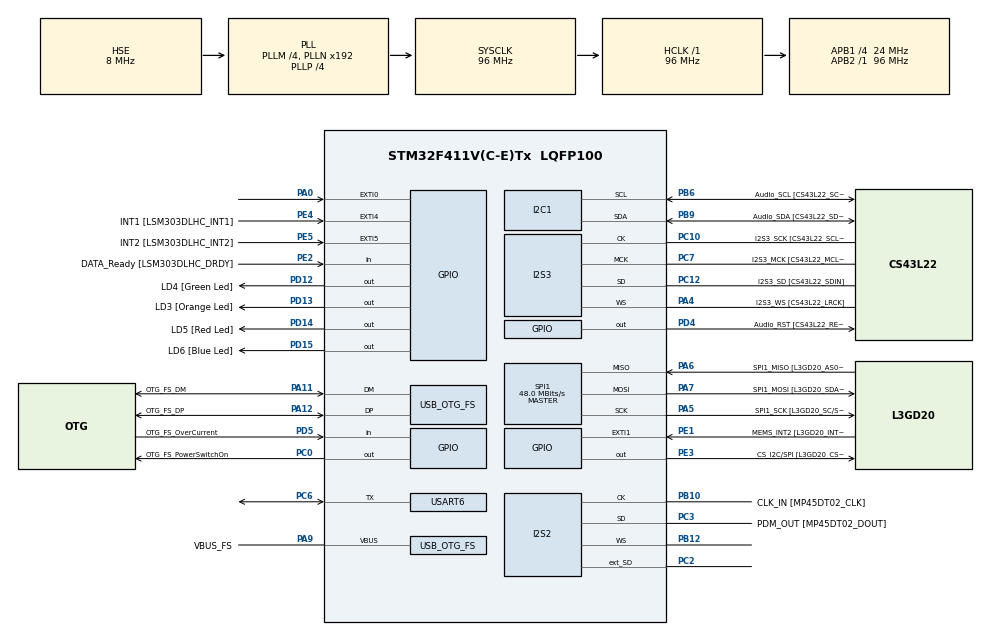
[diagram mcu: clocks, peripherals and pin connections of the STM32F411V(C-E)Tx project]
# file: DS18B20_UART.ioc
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Dma.Request0=USART6_TX
Dma.Request1=USART6_RX
Dma.USART6_RX.1.Direction=DMA_PERIPH_TO_MEMORY
Dma.USART6_RX.1.FIFOMode=DMA_FIFOMODE_DISABLE
Dma.USART6_RX.1.Instance=DMA2_Stream1
Dma.USART6_RX.1.MemDataAlignment=DMA_MDATAALIGN_BYTE
Dma.USART6_RX.1.MemInc=DMA_MINC_ENABLE
Dma.USART6_RX.1.Mode=DMA_NORMAL
Dma.USART6_RX.1.PeriphDataAlignment=DMA_PDATAALIGN_BYTE
Dma.USART6_RX.1.PeriphInc=DMA_PINC_DISABLE
Dma.USART6_RX.1.Priority=DMA_PRIORITY_LOW
Dma.USART6_TX.0.Direction=DMA_MEMORY_TO_PERIPH
Dma.USART6_TX.0.FIFOMode=DMA_FIFOMODE_DISABLE
Dma.USART6_TX.0.Instance=DMA2_Stream6
Dma.USART6_TX.0.MemDataAlignment=DMA_MDATAALIGN_BYTE
Dma.USART6_TX.0.MemInc=DMA_MINC_ENABLE
Dma.USART6_TX.0.Mode=DMA_NORMAL
Dma.USART6_TX.0.PeriphDataAlignment=DMA_PDATAALIGN_BYTE
Dma.USART6_TX.0.PeriphInc=DMA_PINC_DISABLE
Dma.USART6_TX.0.Priority=DMA_PRIORITY_LOW
I2S2.AudioFreq=I2S_AUDIOFREQ_96K
I2S2.ErrorAudioFreq=0.15 %
I2S2.FullDuplexMode=I2S_FULLDUPLEXMODE_ENABLE
I2S2.Instance=SPI$Index
I2S2.RealAudioFreq=96.153 KHz
I2S2.VirtualMode=I2S_MODE_MASTER
I2S3.AudioFreq=I2S_AUDIOFREQ_96K
I2S3.ErrorAudioFreq=-6.99 %
I2S3.FullDuplexMode=I2S_FULLDUPLEXMODE_DISABLE
I2S3.Instance=SPI$Index
I2S3.RealAudioFreq=89.285 KHz
I2S3.VirtualMode=I2S_MODE_MASTER
Mcu.Family=STM32F4
Mcu.Name=STM32F411V(C-E)Tx
Mcu.Package=LQFP100
NVIC.DMA2_Stream1_IRQn=true\:0\:0\:false\:false\:true\:false\:true\:true
NVIC.DMA2_Stream6_IRQn=true\:0\:0\:false\:false\:true\:false\:true\:true
NVIC.OTG_FS_IRQn=true\:0\:0\:false\:false\:true\:true\:true\:true
NVIC.PriorityGroup=NVIC_PRIORITYGROUP_0
NVIC.TIM4_IRQn=true\:0\:0\:false\:false\:true\:true\:true\:true
NVIC.USART6_IRQn=true\:0\:0\:false\:false\:true\:true\:true\:true
PA0-WKUP.GPIO_ModeDefaultEXTI=GPIO_MODE_EVT_RISING
PA0-WKUP.Signal=GPXTI0
PA10.GPIO_Label=OTG_FS_ID
PA10.Signal=USB_OTG_FS_ID
PA11.GPIO_Label=OTG_FS_DM
PA11.Mode=Host_Only
PA11.Signal=USB_OTG_FS_DM
PA12.GPIO_Label=OTG_FS_DP
PA12.Mode=Host_Only
PA12.Signal=USB_OTG_FS_DP
PA13.GPIO_Label=SWDIO
PA13.Mode=Serial_Wire
PA13.Signal=SYS_JTMS-SWDIO
PA14.GPIO_Label=SWCLK
PA14.Mode=Serial_Wire
PA14.Signal=SYS_JTCK-SWCLK
PA4.GPIO_Label=I2S3_WS [CS43L22_LRCK]
PA4.GPIO_Mode=GPIO_MODE_AF_PP
PA4.GPIO_PuPd=GPIO_NOPULL
PA4.GPIO_Speed=GPIO_SPEED_FREQ_LOW
PA4.Mode=Half_Duplex_Master
PA4.Signal=I2S3_WS
PA5.GPIO_Label=SPI1_SCK [L3GD20_SC/SPC]
PA5.Mode=Full_Duplex_Master
PA5.Signal=SPI1_SCK
PA6.GPIO_Label=SPI1_MISO [L3GD20_AS0/SDO]
PA6.Mode=Full_Duplex_Master
PA6.Signal=SPI1_MISO
PA7.GPIO_Label=SPI1_MOSI [L3GD20_SDA/SDI/SDO]
PA7.Mode=Full_Duplex_Master
PA7.Signal=SPI1_MOSI
PA9.GPIO_Label=VBUS_FS
PA9.Mode=Activate_VBUS
PA9.Signal=USB_OTG_FS_VBUS
PB10.GPIO_Label=CLK_IN [MP45DT02_CLK]
PB10.Mode=Full_Duplex_Master
PB10.Signal=I2S2_CK
PB12.Mode=Full_Duplex_Master
PB12.Signal=I2S2_WS
PB3.GPIO_Label=SWO
PB3.Signal=SYS_JTDO-SWO
PB6.GPIO_Label=Audio_SCL [CS43L22_SCL]
PB6.GPIO_Mode=GPIO_MODE_AF_OD
PB6.GPIO_Pu=GPIO_PULLUP
PB6.GPIO_PuPd=GPIO_NOPULL
PB6.GPIO_Speed=GPIO_SPEED_FREQ_LOW
PB6.Mode=I2C
PB6.Signal=I2C1_SCL
PB9.GPIO_Label=Audio_SDA [CS43L22_SDA]
PB9.GPIO_Mode=GPIO_MODE_AF_OD
PB9.GPIO_Pu=GPIO_PULLUP
PB9.GPIO_PuPd=GPIO_NOPULL
PB9.GPIO_Speed=GPIO_SPEED_FREQ_LOW
PB9.Mode=I2C
PB9.Signal=I2C1_SDA
PC0.GPIO_Label=OTG_FS_PowerSwitchOn
PC0.PinState=GPIO_PIN_SET
PC0.Signal=GPIO_Output
PC10.GPIO_Label=I2S3_SCK [CS43L22_SCLK]
PC10.GPIO_Mode=GPIO_MODE_AF_PP
PC10.GPIO_PuPd=GPIO_NOPULL
PC10.GPIO_Speed=GPIO_SPEED_FREQ_LOW
PC10.Mode=Half_Duplex_Master
PC10.Signal=I2S3_CK
PC12.GPIO_Label=I2S3_SD [CS43L22_SDIN]
PC12.GPIO_Mode=GPIO_MODE_AF_PP
PC12.GPIO_PuPd=GPIO_NOPULL
PC12.GPIO_Speed=GPIO_SPEED_FREQ_LOW
PC12.Mode=Half_Duplex_Master
PC12.Signal=I2S3_SD
PC14-OSC32_IN.GPIO_Label=PC14-OSC32_IN
PC14-OSC32_IN.Mode=LSE-External-Oscillator
PC14-OSC32_IN.Signal=RCC_OSC32_IN
PC15-OSC32_OUT.GPIO_Label=PC15-OSC32_OUT
PC15-OSC32_OUT.Mode=LSE-External-Oscillator
PC15-OSC32_OUT.Signal=RCC_OSC32_OUT
PC2.Mode=Full_Duplex_Master
PC2.Signal=I2S2_ext_SD
PC3.GPIO_Label=PDM_OUT [MP45DT02_DOUT]
PC3.Mode=Full_Duplex_Master
PC3.Signal=I2S2_SD
PC6.GPIO_PuPd=GPIO_NOPULL
PC6.GPIO_Speed=GPIO_SPEED_FREQ_VERY_HIGH
PC6.Mode=Half_duplex(single_wire_mode)
PC6.Signal=USART6_TX
PC7.GPIO_Label=I2S3_MCK [CS43L22_MCLK]
PC7.GPIO_Mode=GPIO_MODE_AF_PP
PC7.GPIO_PuPd=GPIO_NOPULL
PC7.GPIO_Speed=GPIO_SPEED_FREQ_LOW
PC7.Mode=Master_Clock_Activated
PC7.Signal=I2S3_MCK
PD12.GPIO_Label=LD4 [Green Led]
PD12.GPIO_PuPd=GPIO_NOPULL
PD12.GPIO_Speed=GPIO_SPEED_FREQ_LOW
PD12.Signal=GPIO_Output
PD13.GPIO_Label=LD3 [Orange Led]
PD13.GPIO_PuPd=GPIO_NOPULL
PD13.GPIO_Speed=GPIO_SPEED_FREQ_LOW
PD13.Signal=GPIO_Output
PD14.GPIO_Label=LD5 [Red Led]
PD14.GPIO_PuPd=GPIO_NOPULL
PD14.GPIO_Speed=GPIO_SPEED_FREQ_LOW
PD14.Signal=GPIO_Output
PD15.GPIO_Label=LD6 [Blue Led]
PD15.GPIO_PuPd=GPIO_NOPULL
PD15.GPIO_Speed=GPIO_SPEED_FREQ_LOW
PD15.Signal=GPIO_Output
PD4.GPIO_Label=Audio_RST [CS43L22_RESET]
PD4.Signal=GPIO_Output
PD5.GPIO_Label=OTG_FS_OverCurrent
PD5.Signal=GPIO_Input
PE1.GPIO_Label=MEMS_INT2 [L3GD20_INT2]
PE1.GPIO_ModeDefaultEXTI=GPIO_MODE_EVT_RISING
PE1.Signal=GPXTI1
PE2.GPIO_Label=DATA_Ready [LSM303DLHC_DRDY]
PE2.Signal=GPIO_Input
PE3.GPIO_Label=CS_I2C/SPI [L3GD20_CS_I2C/SPI]
PE3.Signal=GPIO_Output
PE4.GPIO_Label=INT1 [LSM303DLHC_INT1]
PE4.GPIO_ModeDefaultEXTI=GPIO_MODE_EVT_RISING
PE4.Signal=GPXTI4
PE5.GPIO_Label=INT2 [LSM303DLHC_INT2]
PE5.GPIO_ModeDefaultEXTI=GPIO_MODE_EVT_RISING
PE5.Signal=GPXTI5
PH0\ -\ OSC_IN.GPIO_Label=PH0-OSC_IN
PH0\ -\ OSC_IN.Mode=HSE-External-Oscillator
PH0\ -\ OSC_IN.Signal=RCC_OSC_IN
PH1\ -\ OSC_OUT.GPIO_Label=PH1-OSC_OUT
PH1\ -\ OSC_OUT.Mode=HSE-External-Oscillator
PH1\ -\ OSC_OUT.Signal=RCC_OSC_OUT
ProjectManager.HeapSize=0x200
ProjectManager.StackSize=0x400
ProjectManager.TargetToolchain=STM32CubeIDE
RCC.48MHZClocksFreq_Value=48000000
RCC.AHBFreq_Value=96000000
RCC.APB1CLKDivider=RCC_HCLK_DIV4
RCC.APB1Freq_Value=24000000
RCC.APB1TimFreq_Value=48000000
RCC.APB2Freq_Value=96000000
RCC.APB2TimFreq_Value=96000000
RCC.CortexFreq_Value=96000000
RCC.HCLKFreq_Value=96000000
RCC.HSE_VALUE=8000000
RCC.HSI_VALUE=16000000
RCC.PLLI2SM=5
RCC.PLLI2SN=200
RCC.PLLM=4
RCC.PLLP=RCC_PLLP_DIV4
RCC.PLLQ=8
RCC.SYSCLKFreq_VALUE=96000000
RCC.SYSCLKSource=RCC_SYSCLKSOURCE_PLLCLK
RCC.VCOOutputFreq_Value=384000000
SPI1.BaudRatePrescaler=SPI_BAUDRATEPRESCALER_2
SPI1.CalculateBaudRate=48.0 MBits/s
SPI1.Direction=SPI_DIRECTION_2LINES
SPI1.Mode=SPI_MODE_MASTER
SPI1.VirtualType=VM_MASTER
TIM4.Prescaler=96
USART6.BaudRate=115200
USART6.VirtualMode=VM_ASYNC
USB_HOST.BSP.number=1
USB_HOST.USBH_HandleTypeDef=hUsbHostFS
USB_HOST.VirtualModeFS=Cdc
USB_HOST0.BSP.STBoard=false
USB_HOST0.BSP.api=Unknown
USB_HOST0.BSP.instance=PC0
USB_HOST0.BSP.ip=GPIO
USB_HOST0.BSP.mode=Output
USB_HOST0.BSP.name=Drive_VBUS_FS
USB_HOST0.BSP.solution=PC0
USB_OTG_FS.VirtualMode=Host_Only
USB_OTG_FS.phy_itface=HCD_PHY_EMBEDDED
VP_TIM4_VS_ClockSourceINT.Mode=Internal
VP_USB_HOST_VS_USB_HOST_CDC_FS.Mode=CDC_FS
board=STM32F411E-DISCO

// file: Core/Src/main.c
/* USER CODE BEGIN Header */
/**
  ******************************************************************************
  * @file           : main.c
  * @brief          : Main program body
  ******************************************************************************
  * @attention
  *
  * Copyright (c) 2025 STMicroelectronics.
  * All rights reserved.
  *
  * This software is licensed under terms that can be found in the LICENSE file
  * in the root directory of this software component.
  * If no LICENSE file comes with this software, it is provided AS-IS.
  *
  ******************************************************************************
  */
/* USER CODE END Header */
#include "main.h"
#include "usb_host.h"

/* USER CODE BEGIN Includes */
#include "stdbool.h"
#include "stdio.h"
#include "stm32f4xx_ll_usart.h"
/* USER CODE END Includes */

/* USER CODE BEGIN PM */
int __io_putchar(int ch)
{
 // Write character to ITM ch.0
 ITM_SendChar(ch);
 return(ch);
}
/* USER CODE END PM */

I2C_HandleTypeDef hi2c1;

I2S_HandleTypeDef hi2s2;
I2S_HandleTypeDef hi2s3;

SPI_HandleTypeDef hspi1;

TIM_HandleTypeDef htim4;

UART_HandleTypeDef huart6;
DMA_HandleTypeDef hdma_usart6_tx;
DMA_HandleTypeDef hdma_usart6_rx;

void SystemClock_Config(void);
void PeriphCommonClock_Config(void);
static void MX_GPIO_Init(void);
static void MX_DMA_Init(void);
static void MX_I2C1_Init(void);
static void MX_I2S2_Init(void);
static void MX_I2S3_Init(void);
static void MX_SPI1_Init(void);
static void MX_USART6_UART_Init(void);
static void MX_TIM4_Init(void);
void MX_USB_HOST_Process(void);

/* USER CODE BEGIN PFP */
typedef enum {START_MEASURE, PRESENCE_PULSE_1, SKIPPING_ROM1, REQUESTING_CONVERSION, PRESENCE_PULSE_2, SKIPPING_ROM2, REQUEST_TEMP, RECEIVING_BYTE_LSB,  RECEIVING_BYTE_MSB, FINISHED}DS18B20_state_t;

volatile bool flag_uart6_sent = 0;
volatile bool flag_timer = 0;

volatile int presence = 0;
uint8_t RxData[8], RxData_LSB[8], RxData_MSB[8], Temp_LSB = 0, Temp_MSB = 0;
int16_t Temp = 0;
float Temperature_DS18B20 = 0;
uint8_t Tx_PRESENCE_PULSE[] = {0xF0}, Rx_PRESENCE_PULSE[] = {0x00};
uint8_t data_global = 0xF0;

uint8_t FF_byte[] = {0xFF};
uint8_t C0_byte[] = {0xC0};

uint32_t delay = 0, conversion_delay = 0;
DS18B20_state_t DS18B20_state = START_MEASURE, *DS18B20_state_ptr = &DS18B20_state;

void HAL_UART_TxCpltCallback(UART_HandleTypeDef *huart){
	if(huart->Instance == USART6){
		flag_uart6_sent = 1;
	}
}
/* USER CODE END PFP */

/* USER CODE BEGIN 0 */
void MX_USART6_UART_Init_baud_selecting(uint32_t baud_rate)
{
	huart6.Instance = USART6;
	huart6.Init.BaudRate = baud_rate;
	huart6.Init.WordLength = UART_WORDLENGTH_8B;
	huart6.Init.StopBits = UART_STOPBITS_1;
	huart6.Init.Parity = UART_PARITY_NONE;
	huart6.Init.Mode = UART_MODE_TX_RX;
	huart6.Init.HwFlowCtl = UART_HWCONTROL_NONE;
	huart6.Init.OverSampling = UART_OVERSAMPLING_16;
	if (HAL_HalfDuplex_Init(&huart6) != HAL_OK)
	{
		Error_Handler();
	}
}

void DS18B20_Write(uint8_t data){
	uint8_t buffer[8];
	for(int i = 0;i < 8;i++){
		if((data & (1<<i)) != 0){
			buffer[i] = 0xFF;
		}
		else{
			buffer[i] = 0x00;
		}
	}
	HAL_UART_Transmit_DMA(&huart6,buffer,8);
}

void DS18B20_Start(void){
	MX_USART6_UART_Init_baud_selecting(9600);
	HAL_UART_Transmit_DMA(&huart6,Tx_PRESENCE_PULSE,1);
	HAL_UART_Receive_DMA(&huart6,Rx_PRESENCE_PULSE,1);
}

bool DS18B20_Presence_Pulse_check(void){
	if(Rx_PRESENCE_PULSE[0] == 0xF0){
		return 0;
	}
	return 1;
}

void DS18B20_Read(uint8_t *rx){
	uint8_t buffer[8];
	for(int i = 0;i < 8;i++){
		buffer[i] = 0xFF;
	}
	HAL_UART_Transmit_DMA(&huart6,buffer,8);
	HAL_UART_Receive_DMA(&huart6,rx,8);
}

uint8_t byte_parser(uint8_t *data){
	uint8_t value = 0;

	for(int i = 0;i < 8;i++){
		if(data[i] == 0xFF){
			value |= 1<<i;
		}
	}

	return value;
}

void action(DS18B20_state_t state){
	switch(state){
		case PRESENCE_PULSE_1:
			DS18B20_Start();
			break;
		case SKIPPING_ROM1:
			MX_USART6_UART_Init_baud_selecting(115200);
			DS18B20_Write(0xCC);
			break;
		case REQUESTING_CONVERSION:
			DS18B20_Write(0x44);
			delay = HAL_GetTick();
			break;
		case PRESENCE_PULSE_2:
			DS18B20_Start();
			break;
		case SKIPPING_ROM2:
			MX_USART6_UART_Init_baud_selecting(115200);
			DS18B20_Write(0xCC);
			break;
		case REQUEST_TEMP:
			DS18B20_Write(0xBE);
			break;
		case RECEIVING_BYTE_LSB:
			DS18B20_Read(RxData_LSB);
			break;
		case RECEIVING_BYTE_MSB:
			DS18B20_Read(RxData_MSB);
			break;
		case FINISHED:
			Temp_LSB = byte_parser(RxData_LSB);
			Temp_MSB = byte_parser(RxData_MSB);

			Temp = (Temp_MSB << 8) | Temp_LSB;
			Temperature_DS18B20 = (float) Temp/16.0;
			printf("Temperatura medida %f\n",Temperature_DS18B20);
			delay = HAL_GetTick();
		default:
			break;
	}
}

bool DS18B20_state_handling(DS18B20_state_t *state){
	switch(*state){
		case START_MEASURE:
			*state = PRESENCE_PULSE_1;
			return 1;
			break;
		case PRESENCE_PULSE_1:
			if(flag_uart6_sent == 1){
				if(DS18B20_Presence_Pulse_check()){
					*state = SKIPPING_ROM1;
				}
				flag_uart6_sent = 0;
				return 1;
			}
			return 0;
			break;
		case SKIPPING_ROM1:
			if(flag_uart6_sent == 1){
				*state = REQUESTING_CONVERSION;
				flag_uart6_sent = 0;
				return 1;
			}
			return 0;
			break;
		case REQUESTING_CONVERSION:
			if(flag_uart6_sent == 1){
				*state = PRESENCE_PULSE_2;
				flag_uart6_sent = 0;
				Rx_PRESENCE_PULSE[0] = 0xF0;
				return 1;
			}
			return 0;
			break;
		case PRESENCE_PULSE_2:
			if(flag_uart6_sent == 1){
				if(DS18B20_Presence_Pulse_check()){
					*state = SKIPPING_ROM2;
				}
				flag_uart6_sent = 0;
				return 1;
			}
			return 0;
			break;
		case SKIPPING_ROM2:
			if(flag_uart6_sent == 1){
				*state = REQUEST_TEMP;
				flag_uart6_sent = 0;
				return 1;
			}
			return 0;
			break;
		case REQUEST_TEMP:
			if(flag_uart6_sent == 1){
				*state = RECEIVING_BYTE_LSB;
				flag_uart6_sent = 0;
				return 1;
			}
			return 0;
			break;
		case RECEIVING_BYTE_LSB:
			if(flag_uart6_sent == 1){
				*state = RECEIVING_BYTE_MSB;
				flag_uart6_sent = 0;
				return 1;
			}
			return 0;
			break;
		case RECEIVING_BYTE_MSB:
			if(flag_uart6_sent == 1){
				*state = FINISHED;
				flag_uart6_sent = 0;
				return 1;
			}
			return 0;
			break;
		case FINISHED:
			Rx_PRESENCE_PULSE[0] = 0xF0;
			*state = START_MEASURE;
			return 1;
		default:
			break;
		}
	return 0;
}
/* USER CODE END 0 */

int main(void)
{

  /* MCU Configuration--------------------------------------------------------*/

  /* Reset of all peripherals, Initializes the Flash interface and the Systick. */
  HAL_Init();

  /* Configure the system clock */
  SystemClock_Config();

  /* Configure the peripherals common clocks */
  PeriphCommonClock_Config();

  /* Initialize all configured peripherals */
  MX_GPIO_Init();
  MX_DMA_Init();
  MX_I2C1_Init();
  MX_I2S2_Init();
  MX_I2S3_Init();
  MX_SPI1_Init();
  MX_USB_HOST_Init();
  MX_USART6_UART_Init();
  MX_TIM4_Init();
  /* USER CODE BEGIN 2 */
  MX_USART6_UART_Init_baud_selecting(115200);
  /* USER CODE END 2 */

  /* Infinite loop */
  while (1)
  {
    MX_USB_HOST_Process();

    /* USER CODE BEGIN 3 */
    if((HAL_GetTick() - delay > 3000)){
    	if(DS18B20_state_handling(DS18B20_state_ptr)){
    		action(DS18B20_state);
    	}
    }
  }
  /* USER CODE END 3 */
}

void SystemClock_Config(void)
{
  RCC_OscInitTypeDef RCC_OscInitStruct = {0};
  RCC_ClkInitTypeDef RCC_ClkInitStruct = {0};

  /** Configure the main internal regulator output voltage
  */
  __HAL_RCC_PWR_CLK_ENABLE();
  __HAL_PWR_VOLTAGESCALING_CONFIG(PWR_REGULATOR_VOLTAGE_SCALE1);

  /** Initializes the RCC Oscillators according to the specified parameters
  * in the RCC_OscInitTypeDef structure.
  */
  RCC_OscInitStruct.OscillatorType = RCC_OSCILLATORTYPE_HSE;
  RCC_OscInitStruct.HSEState = RCC_HSE_ON;
  RCC_OscInitStruct.PLL.PLLState = RCC_PLL_ON;
  RCC_OscInitStruct.PLL.PLLSource = RCC_PLLSOURCE_HSE;
  RCC_OscInitStruct.PLL.PLLM = 4;
  RCC_OscInitStruct.PLL.PLLN = 192;
  RCC_OscInitStruct.PLL.PLLP = RCC_PLLP_DIV4;
  RCC_OscInitStruct.PLL.PLLQ = 8;
  if (HAL_RCC_OscConfig(&RCC_OscInitStruct) != HAL_OK)
  {
    Error_Handler();
  }

  /** Initializes the CPU, AHB and APB buses clocks
  */
  RCC_ClkInitStruct.ClockType = RCC_CLOCKTYPE_HCLK|RCC_CLOCKTYPE_SYSCLK
                              |RCC_CLOCKTYPE_PCLK1|RCC_CLOCKTYPE_PCLK2;
  RCC_ClkInitStruct.SYSCLKSource = RCC_SYSCLKSOURCE_PLLCLK;
  RCC_ClkInitStruct.AHBCLKDivider = RCC_SYSCLK_DIV1;
  RCC_ClkInitStruct.APB1CLKDivider = RCC_HCLK_DIV4;
  RCC_ClkInitStruct.APB2CLKDivider = RCC_HCLK_DIV1;

  if (HAL_RCC_ClockConfig(&RCC_ClkInitStruct, FLASH_LATENCY_3) != HAL_OK)
  {
    Error_Handler();
  }
}

void PeriphCommonClock_Config(void)
{
  RCC_PeriphCLKInitTypeDef PeriphClkInitStruct = {0};

  /** Initializes the peripherals clock
  */
  PeriphClkInitStruct.PeriphClockSelection = RCC_PERIPHCLK_I2S;
  PeriphClkInitStruct.PLLI2S.PLLI2SN = 200;
  PeriphClkInitStruct.PLLI2S.PLLI2SM = 5;
  PeriphClkInitStruct.PLLI2S.PLLI2SR = 2;
  if (HAL_RCCEx_PeriphCLKConfig(&PeriphClkInitStruct) != HAL_OK)
  {
    Error_Handler();
  }
}

static void MX_I2C1_Init(void)
{

  hi2c1.Instance = I2C1;
  hi2c1.Init.ClockSpeed = 100000;
  hi2c1.Init.DutyCycle = I2C_DUTYCYCLE_2;
  hi2c1.Init.OwnAddress1 = 0;
  hi2c1.Init.AddressingMode = I2C_ADDRESSINGMODE_7BIT;
  hi2c1.Init.DualAddressMode = I2C_DUALADDRESS_DISABLE;
  hi2c1.Init.OwnAddress2 = 0;
  hi2c1.Init.GeneralCallMode = I2C_GENERALCALL_DISABLE;
  hi2c1.Init.NoStretchMode = I2C_NOSTRETCH_DISABLE;
  if (HAL_I2C_Init(&hi2c1) != HAL_OK)
  {
    Error_Handler();
  }

}

static void MX_I2S2_Init(void)
{

  hi2s2.Instance = SPI2;
  hi2s2.Init.Mode = I2S_MODE_MASTER_TX;
  hi2s2.Init.Standard = I2S_STANDARD_PHILIPS;
  hi2s2.Init.DataFormat = I2S_DATAFORMAT_16B;
  hi2s2.Init.MCLKOutput = I2S_MCLKOUTPUT_DISABLE;
  hi2s2.Init.AudioFreq = I2S_AUDIOFREQ_96K;
  hi2s2.Init.CPOL = I2S_CPOL_LOW;
  hi2s2.Init.ClockSource = I2S_CLOCK_PLL;
  hi2s2.Init.FullDuplexMode = I2S_FULLDUPLEXMODE_ENABLE;
  if (HAL_I2S_Init(&hi2s2) != HAL_OK)
  {
    Error_Handler();
  }

}

static void MX_I2S3_Init(void)
{

  hi2s3.Instance = SPI3;
  hi2s3.Init.Mode = I2S_MODE_MASTER_TX;
  hi2s3.Init.Standard = I2S_STANDARD_PHILIPS;
  hi2s3.Init.DataFormat = I2S_DATAFORMAT_16B;
  hi2s3.Init.MCLKOutput = I2S_MCLKOUTPUT_ENABLE;
  hi2s3.Init.AudioFreq = I2S_AUDIOFREQ_96K;
  hi2s3.Init.CPOL = I2S_CPOL_LOW;
  hi2s3.Init.ClockSource = I2S_CLOCK_PLL;
  hi2s3.Init.FullDuplexMode = I2S_FULLDUPLEXMODE_DISABLE;
  if (HAL_I2S_Init(&hi2s3) != HAL_OK)
  {
    Error_Handler();
  }

}

static void MX_SPI1_Init(void)
{

  /* SPI1 parameter configuration*/
  hspi1.Instance = SPI1;
  hspi1.Init.Mode = SPI_MODE_MASTER;
  hspi1.Init.Direction = SPI_DIRECTION_2LINES;
  hspi1.Init.DataSize = SPI_DATASIZE_8BIT;
  hspi1.Init.CLKPolarity = SPI_POLARITY_LOW;
  hspi1.Init.CLKPhase = SPI_PHASE_1EDGE;
  hspi1.Init.NSS = SPI_NSS_SOFT;
  hspi1.Init.BaudRatePrescaler = SPI_BAUDRATEPRESCALER_2;
  hspi1.Init.FirstBit = SPI_FIRSTBIT_MSB;
  hspi1.Init.TIMode = SPI_TIMODE_DISABLE;
  hspi1.Init.CRCCalculation = SPI_CRCCALCULATION_DISABLE;
  hspi1.Init.CRCPolynomial = 10;
  if (HAL_SPI_Init(&hspi1) != HAL_OK)
  {
    Error_Handler();
  }

}

static void MX_TIM4_Init(void)
{

  TIM_ClockConfigTypeDef sClockSourceConfig = {0};
  TIM_MasterConfigTypeDef sMasterConfig = {0};

  htim4.Instance = TIM4;
  htim4.Init.Prescaler = 96;
  htim4.Init.CounterMode = TIM_COUNTERMODE_UP;
  htim4.Init.Period = 65535;
  htim4.Init.ClockDivision = TIM_CLOCKDIVISION_DIV1;
  htim4.Init.AutoReloadPreload = TIM_AUTORELOAD_PRELOAD_DISABLE;
  if (HAL_TIM_Base_Init(&htim4) != HAL_OK)
  {
    Error_Handler();
  }
  sClockSourceConfig.ClockSource = TIM_CLOCKSOURCE_INTERNAL;
  if (HAL_TIM_ConfigClockSource(&htim4, &sClockSourceConfig) != HAL_OK)
  {
    Error_Handler();
  }
  sMasterConfig.MasterOutputTrigger = TIM_TRGO_RESET;
  sMasterConfig.MasterSlaveMode = TIM_MASTERSLAVEMODE_DISABLE;
  if (HAL_TIMEx_MasterConfigSynchronization(&htim4, &sMasterConfig) != HAL_OK)
  {
    Error_Handler();
  }

}

static void MX_USART6_UART_Init(void)
{

  huart6.Instance = USART6;
  huart6.Init.BaudRate = 115200;
  huart6.Init.WordLength = UART_WORDLENGTH_8B;
  huart6.Init.StopBits = UART_STOPBITS_1;
  huart6.Init.Parity = UART_PARITY_NONE;
  huart6.Init.Mode = UART_MODE_TX_RX;
  huart6.Init.HwFlowCtl = UART_HWCONTROL_NONE;
  huart6.Init.OverSampling = UART_OVERSAMPLING_16;
  if (HAL_HalfDuplex_Init(&huart6) != HAL_OK)
  {
    Error_Handler();
  }

}

static void MX_DMA_Init(void)
{

  /* DMA controller clock enable */
  __HAL_RCC_DMA2_CLK_ENABLE();

  /* DMA interrupt init */
  /* DMA2_Stream1_IRQn interrupt configuration */
  HAL_NVIC_SetPriority(DMA2_Stream1_IRQn, 0, 0);
  HAL_NVIC_EnableIRQ(DMA2_Stream1_IRQn);
  /* DMA2_Stream6_IRQn interrupt configuration */
  HAL_NVIC_SetPriority(DMA2_Stream6_IRQn, 0, 0);
  HAL_NVIC_EnableIRQ(DMA2_Stream6_IRQn);

}

static void MX_GPIO_Init(void)
{
  GPIO_InitTypeDef GPIO_InitStruct = {0};

  /* GPIO Ports Clock Enable */
  __HAL_RCC_GPIOE_CLK_ENABLE();
  __HAL_RCC_GPIOC_CLK_ENABLE();
  __HAL_RCC_GPIOH_CLK_ENABLE();
  __HAL_RCC_GPIOA_CLK_ENABLE();
  __HAL_RCC_GPIOB_CLK_ENABLE();
  __HAL_RCC_GPIOD_CLK_ENABLE();

  /*Configure GPIO pin Output Level */
  HAL_GPIO_WritePin(CS_I2C_SPI_GPIO_Port, CS_I2C_SPI_Pin, GPIO_PIN_RESET);

  /*Configure GPIO pin Output Level */
  HAL_GPIO_WritePin(OTG_FS_PowerSwitchOn_GPIO_Port, OTG_FS_PowerSwitchOn_Pin, GPIO_PIN_SET);

  /*Configure GPIO pin Output Level */
  HAL_GPIO_WritePin(GPIOD, LD4_Pin|LD3_Pin|LD5_Pin|LD6_Pin
                          |Audio_RST_Pin, GPIO_PIN_RESET);

  /*Configure GPIO pin : DATA_Ready_Pin */
  GPIO_InitStruct.Pin = DATA_Ready_Pin;
  GPIO_InitStruct.Mode = GPIO_MODE_INPUT;
  GPIO_InitStruct.Pull = GPIO_NOPULL;
  HAL_GPIO_Init(DATA_Ready_GPIO_Port, &GPIO_InitStruct);

  /*Configure GPIO pin : CS_I2C_SPI_Pin */
  GPIO_InitStruct.Pin = CS_I2C_SPI_Pin;
  GPIO_InitStruct.Mode = GPIO_MODE_OUTPUT_PP;
  GPIO_InitStruct.Pull = GPIO_NOPULL;
  GPIO_InitStruct.Speed = GPIO_SPEED_FREQ_LOW;
  HAL_GPIO_Init(CS_I2C_SPI_GPIO_Port, &GPIO_InitStruct);

  /*Configure GPIO pins : INT1_Pin INT2_Pin MEMS_INT2_Pin */
  GPIO_InitStruct.Pin = INT1_Pin|INT2_Pin|MEMS_INT2_Pin;
  GPIO_InitStruct.Mode = GPIO_MODE_EVT_RISING;
  GPIO_InitStruct.Pull = GPIO_NOPULL;
  HAL_GPIO_Init(GPIOE, &GPIO_InitStruct);

  /*Configure GPIO pin : OTG_FS_PowerSwitchOn_Pin */
  GPIO_InitStruct.Pin = OTG_FS_PowerSwitchOn_Pin;
  GPIO_InitStruct.Mode = GPIO_MODE_OUTPUT_PP;
  GPIO_InitStruct.Pull = GPIO_NOPULL;
  GPIO_InitStruct.Speed = GPIO_SPEED_FREQ_LOW;
  HAL_GPIO_Init(OTG_FS_PowerSwitchOn_GPIO_Port, &GPIO_InitStruct);

  /*Configure GPIO pin : PA0 */
  GPIO_InitStruct.Pin = GPIO_PIN_0;
  GPIO_InitStruct.Mode = GPIO_MODE_EVT_RISING;
  GPIO_InitStruct.Pull = GPIO_NOPULL;
  HAL_GPIO_Init(GPIOA, &GPIO_InitStruct);

  /*Configure GPIO pins : LD4_Pin LD3_Pin LD5_Pin LD6_Pin
                           Audio_RST_Pin */
  GPIO_InitStruct.Pin = LD4_Pin|LD3_Pin|LD5_Pin|LD6_Pin
                          |Audio_RST_Pin;
  GPIO_InitStruct.Mode = GPIO_MODE_OUTPUT_PP;
  GPIO_InitStruct.Pull = GPIO_NOPULL;
  GPIO_InitStruct.Speed = GPIO_SPEED_FREQ_LOW;
  HAL_GPIO_Init(GPIOD, &GPIO_InitStruct);

  /*Configure GPIO pin : OTG_FS_OverCurrent_Pin */
  GPIO_InitStruct.Pin = OTG_FS_OverCurrent_Pin;
  GPIO_InitStruct.Mode = GPIO_MODE_INPUT;
  GPIO_InitStruct.Pull = GPIO_NOPULL;
  HAL_GPIO_Init(OTG_FS_OverCurrent_GPIO_Port, &GPIO_InitStruct);

}

void Error_Handler(void)
{
  __disable_irq();
  while (1)
  {
  }
}
